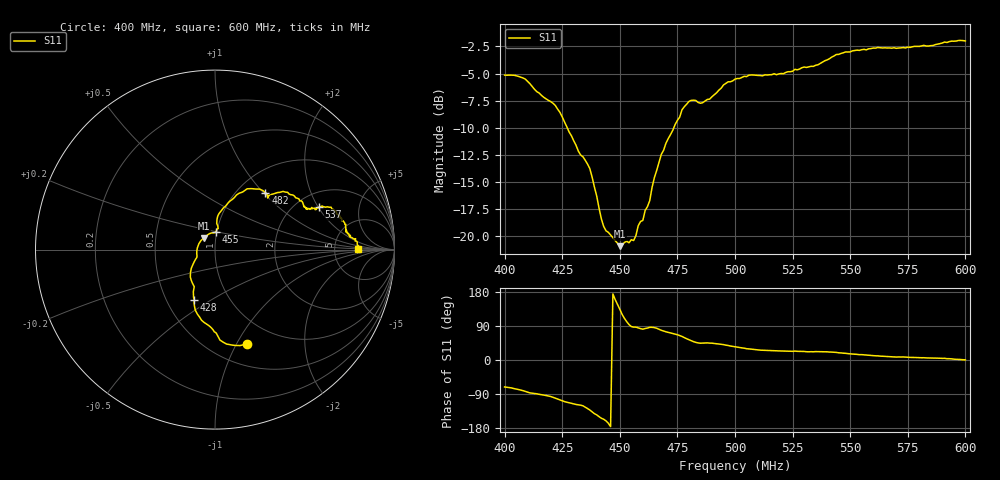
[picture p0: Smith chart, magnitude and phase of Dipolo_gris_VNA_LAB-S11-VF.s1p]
! Version 1.0
! Name  :	Dipolo_gris_VNA_LAB-S11-VF.s1p
! Measurement : [new]
! Date  :	07-05-26 11:55:41
! Generated by:	MiQVNA
# HZ S DB R 50
! Freq	ReS11	ImS11
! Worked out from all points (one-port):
!   201 points, 400 MHz to 600 MHz, reference 50 ohm
!   lowest |S11| = -20.9 dB at 450 MHz (marker M1), VSWR 1.20, Z = 43.8 + j5.72 ohm
!   |S11| at or under -10 dB: 427.2 MHz to 473.4 MHz (46.2 MHz wide, 10.3 % of centre)
!   S11 on the Smith chart (normalised r, x): 400 MHz: 0.73, -1.10; 428 MHz: 0.69, -0.42; 455 MHz: 0.99, +0.19; 482 MHz: 1.33, +1.03; 537 MHz: 2.61, +2.04; 600 MHz: 8.76, +0.23
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4e8  -5.14 -71.1
4.09e8  -5.51 -83.0
4.25e8  -8.98 -107.9
4.28e8  -10.38 -112.6
4.37e8  -13.76 -132.1
4.43e8  -19.08 -156.4
4.5e8  -20.90 134.0
4.55e8  -20.31 88.1
4.56e8  -20.38 86.8
4.58e8  -19.01 84.8
4.6e8  -18.53 81.4
4.63e8  -16.70 86.3
4.65e8  -14.59 85.4
4.68e8  -12.45 78.4
4.75e8  -9.31 66.7
4.78e8  -8.05 59.1
4.82e8  -7.45 48.4
4.85e8  -7.73 44.3
4.89e8  -7.35 44.5
4.95e8  -6.04 40.5
5e8  -5.51 35.0
5.11e8  -5.18 26.0
5.25e8  -4.79 22.9
5.37e8  -4.06 22.2
5.5e8  -3.00 16.2
5.75e8  -2.56 7.4
5.91e8  -2.09 4.5
6e8  -1.99 0.3
